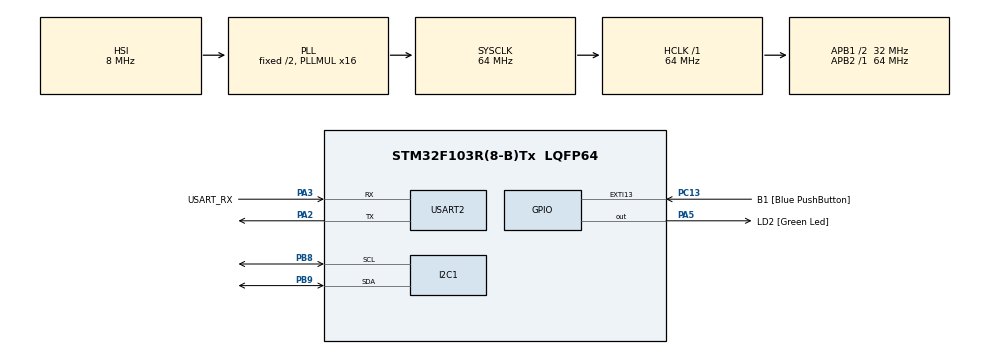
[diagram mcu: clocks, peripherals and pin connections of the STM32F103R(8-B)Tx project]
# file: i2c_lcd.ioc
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Mcu.Family=STM32F1
Mcu.Name=STM32F103R(8-B)Tx
Mcu.Package=LQFP64
NVIC.EXTI15_10_IRQn=true\:0\:0\:false\:false\:true\:true\:true\:true
NVIC.PriorityGroup=NVIC_PRIORITYGROUP_4
PA13.GPIO_Label=TMS
PA13.Mode=Serial_Wire
PA13.Signal=SYS_JTMS-SWDIO
PA14.GPIO_Label=TCK
PA14.Mode=Serial_Wire
PA14.Signal=SYS_JTCK-SWCLK
PA2.Mode=Asynchronous
PA2.Signal=USART2_TX
PA3.GPIO_Label=USART_RX
PA3.GPIO_Mode=GPIO_MODE_AF_PP
PA3.GPIO_PuPd=GPIO_NOPULL
PA3.GPIO_Speed=GPIO_SPEED_FREQ_LOW
PA3.Mode=Asynchronous
PA3.Signal=USART2_RX
PA5.GPIO_Label=LD2 [Green Led]
PA5.GPIO_ModeDefaultOutputPP=GPIO_MODE_OUTPUT_PP
PA5.GPIO_PuPd=GPIO_NOPULL
PA5.GPIO_Speed=GPIO_SPEED_FREQ_LOW
PA5.Signal=GPIO_Output
PB3.GPIO_Label=SWO
PB3.Signal=SYS_JTDO-TRACESWO
PB8.Mode=I2C
PB8.Signal=I2C1_SCL
PB9.Mode=I2C
PB9.Signal=I2C1_SDA
PC13-TAMPER-RTC.GPIO_Label=B1 [Blue PushButton]
PC13-TAMPER-RTC.GPIO_PuPd=GPIO_NOPULL
PC13-TAMPER-RTC.Signal=GPXTI13
ProjectManager.HeapSize=0x200
ProjectManager.StackSize=0x400
ProjectManager.TargetToolchain=STM32CubeIDE
RCC.AHBFreq_Value=64000000
RCC.APB1CLKDivider=RCC_HCLK_DIV2
RCC.APB1Freq_Value=32000000
RCC.APB1TimFreq_Value=64000000
RCC.APB2Freq_Value=64000000
RCC.APB2TimFreq_Value=64000000
RCC.HCLKFreq_Value=64000000
RCC.PLLMUL=RCC_PLL_MUL16
RCC.RTCClockSelection=RCC_RTCCLKSOURCE_LSE
RCC.SYSCLKFreq_VALUE=64000000
RCC.SYSCLKSource=RCC_SYSCLKSOURCE_PLLCLK
RCC.USBFreq_Value=64000000
USART2.VirtualMode=VM_ASYNC
board=NUCLEO-F103RB

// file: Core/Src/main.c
/* USER CODE BEGIN Header */
/**
 ******************************************************************************
 * @file           : main.c
 * @brief          : Main program body
 ******************************************************************************
 * @attention
 *
 * Copyright (c) 2024 STMicroelectronics.
 * All rights reserved.
 *
 * This software is licensed under terms that can be found in the LICENSE file
 * in the root directory of this software component.
 * If no LICENSE file comes with this software, it is provided AS-IS.
 *
 ******************************************************************************
 */
/* USER CODE END Header */
#include "main.h"

/* USER CODE BEGIN Includes */
#include "liquidcrystal_i2c.h"
#include <stdlib.h>
/* USER CODE END Includes */

I2C_HandleTypeDef hi2c1;

UART_HandleTypeDef huart2;

void SystemClock_Config(void);
static void MX_GPIO_Init(void);
static void MX_I2C1_Init(void);
static void MX_USART2_UART_Init(void);

int main(void) {

	/* USER CODE BEGIN 1 */
	char* hello = "HELLO YONGJOO";
	char* welcome = "WELCOME!!!!!!!!";
	char * bye = "BYE YONGJOO";
	char * good = "GOOD JOB";
	/* USER CODE END 1 */

	/* MCU Configuration--------------------------------------------------------*/

	/* Reset of all peripherals, Initializes the Flash interface and the Systick. */
	HAL_Init();

	/* Configure the system clock */
	SystemClock_Config();

	/* Initialize all configured peripherals */
	MX_GPIO_Init();
	MX_I2C1_Init();
	MX_USART2_UART_Init();
	/* USER CODE BEGIN 2 */
	HD44780_Init(2);
	HD44780_Clear();
	HD44780_SetCursor(0, 0);
	HD44780_PrintStr(hello);
	HD44780_SetCursor(0, 1);
	HD44780_PrintStr(welcome);
	HAL_Delay(3000);
	HD44780_Clear();
	HD44780_PrintStr(bye);
	HD44780_SetCursor(0, 1);
	HD44780_PrintStr(good);
	HAL_Delay(3000);
//	HD44780_Init(2);
//	HD44780_Clear();
//	HD44780_SetCursor(0, 0);
//	HD44780_PrintStr("HELLO");
//	HD44780_SetCursor(10, 1);
//	HD44780_PrintStr("WORLD");
//	HAL_Delay(2000);
//
//	HD44780_Clear();
//	HD44780_SetCursor(0, 0);
//	HD44780_PrintStr("HELLO");
//	HAL_Delay(2000);
//	HD44780_NoBacklight();
//	HAL_Delay(2000);
//	HD44780_Backlight();
//
//	HAL_Delay(2000);
//	HD44780_Cursor();
//	HAL_Delay(2000);
//	HD44780_Blink();
//	HAL_Delay(5000);
//	HD44780_NoBlink();
//	HAL_Delay(2000);
//	HD44780_NoCursor();
//	HAL_Delay(2000);
//
	HD44780_NoDisplay();
	HD44780_NoBacklight();
	HAL_Delay(2000);
	HD44780_Display();
	HD44780_Backlight();
//
//	HD44780_Clear();
//	HD44780_SetCursor(0, 0);
//	HD44780_PrintStr("Learning STM32 with LCD is fun :-)");
//	//int x;
//	for (int x = 0; x < 40; x = x + 1) {
//		HD44780_ScrollDisplayLeft();  //HD44780_ScrollDisplayRight();
//		HAL_Delay(500);
//	}
//
//	char snum[5];
//	for (int x = 1; x <= 200; x++) {
//		itoa(x, snum, 10);
//		HD44780_Clear();
//		HD44780_SetCursor(0, 0);
//		HD44780_PrintStr(snum);
//		HAL_Delay(1000);
//	}
	/* USER CODE END 2 */

	/* Infinite loop */
	while (1) {

	}
}

void SystemClock_Config(void) {
	RCC_OscInitTypeDef RCC_OscInitStruct = { 0 };
	RCC_ClkInitTypeDef RCC_ClkInitStruct = { 0 };

	/** Initializes the RCC Oscillators according to the specified parameters
	 * in the RCC_OscInitTypeDef structure.
	 */
	RCC_OscInitStruct.OscillatorType = RCC_OSCILLATORTYPE_HSI;
	RCC_OscInitStruct.HSIState = RCC_HSI_ON;
	RCC_OscInitStruct.HSICalibrationValue = RCC_HSICALIBRATION_DEFAULT;
	RCC_OscInitStruct.PLL.PLLState = RCC_PLL_ON;
	RCC_OscInitStruct.PLL.PLLSource = RCC_PLLSOURCE_HSI_DIV2;
	RCC_OscInitStruct.PLL.PLLMUL = RCC_PLL_MUL16;
	if (HAL_RCC_OscConfig(&RCC_OscInitStruct) != HAL_OK) {
		Error_Handler();
	}

	/** Initializes the CPU, AHB and APB buses clocks
	 */
	RCC_ClkInitStruct.ClockType = RCC_CLOCKTYPE_HCLK | RCC_CLOCKTYPE_SYSCLK
			| RCC_CLOCKTYPE_PCLK1 | RCC_CLOCKTYPE_PCLK2;
	RCC_ClkInitStruct.SYSCLKSource = RCC_SYSCLKSOURCE_PLLCLK;
	RCC_ClkInitStruct.AHBCLKDivider = RCC_SYSCLK_DIV1;
	RCC_ClkInitStruct.APB1CLKDivider = RCC_HCLK_DIV2;
	RCC_ClkInitStruct.APB2CLKDivider = RCC_HCLK_DIV1;

	if (HAL_RCC_ClockConfig(&RCC_ClkInitStruct, FLASH_LATENCY_2) != HAL_OK) {
		Error_Handler();
	}
}

static void MX_I2C1_Init(void) {

	hi2c1.Instance = I2C1;
	hi2c1.Init.ClockSpeed = 100000;
	hi2c1.Init.DutyCycle = I2C_DUTYCYCLE_2;
	hi2c1.Init.OwnAddress1 = 0;
	hi2c1.Init.AddressingMode = I2C_ADDRESSINGMODE_7BIT;
	hi2c1.Init.DualAddressMode = I2C_DUALADDRESS_DISABLE;
	hi2c1.Init.OwnAddress2 = 0;
	hi2c1.Init.GeneralCallMode = I2C_GENERALCALL_DISABLE;
	hi2c1.Init.NoStretchMode = I2C_NOSTRETCH_DISABLE;
	if (HAL_I2C_Init(&hi2c1) != HAL_OK) {
		Error_Handler();
	}

}

static void MX_USART2_UART_Init(void) {

	huart2.Instance = USART2;
	huart2.Init.BaudRate = 115200;
	huart2.Init.WordLength = UART_WORDLENGTH_8B;
	huart2.Init.StopBits = UART_STOPBITS_1;
	huart2.Init.Parity = UART_PARITY_NONE;
	huart2.Init.Mode = UART_MODE_TX_RX;
	huart2.Init.HwFlowCtl = UART_HWCONTROL_NONE;
	huart2.Init.OverSampling = UART_OVERSAMPLING_16;
	if (HAL_UART_Init(&huart2) != HAL_OK) {
		Error_Handler();
	}

}

static void MX_GPIO_Init(void) {
	GPIO_InitTypeDef GPIO_InitStruct = { 0 };

	/* GPIO Ports Clock Enable */
	__HAL_RCC_GPIOC_CLK_ENABLE();
	__HAL_RCC_GPIOA_CLK_ENABLE();
	__HAL_RCC_GPIOB_CLK_ENABLE();

	/*Configure GPIO pin Output Level */
	HAL_GPIO_WritePin(LD2_GPIO_Port, LD2_Pin, GPIO_PIN_RESET);

	/*Configure GPIO pin : B1_Pin */
	GPIO_InitStruct.Pin = B1_Pin;
	GPIO_InitStruct.Mode = GPIO_MODE_IT_RISING;
	GPIO_InitStruct.Pull = GPIO_NOPULL;
	HAL_GPIO_Init(B1_GPIO_Port, &GPIO_InitStruct);

	/*Configure GPIO pin : LD2_Pin */
	GPIO_InitStruct.Pin = LD2_Pin;
	GPIO_InitStruct.Mode = GPIO_MODE_OUTPUT_PP;
	GPIO_InitStruct.Pull = GPIO_NOPULL;
	GPIO_InitStruct.Speed = GPIO_SPEED_FREQ_LOW;
	HAL_GPIO_Init(LD2_GPIO_Port, &GPIO_InitStruct);

	/* EXTI interrupt init*/
	HAL_NVIC_SetPriority(EXTI15_10_IRQn, 0, 0);
	HAL_NVIC_EnableIRQ(EXTI15_10_IRQn);

}

void Error_Handler(void) {
	__disable_irq();
	while (1) {
	}
}
